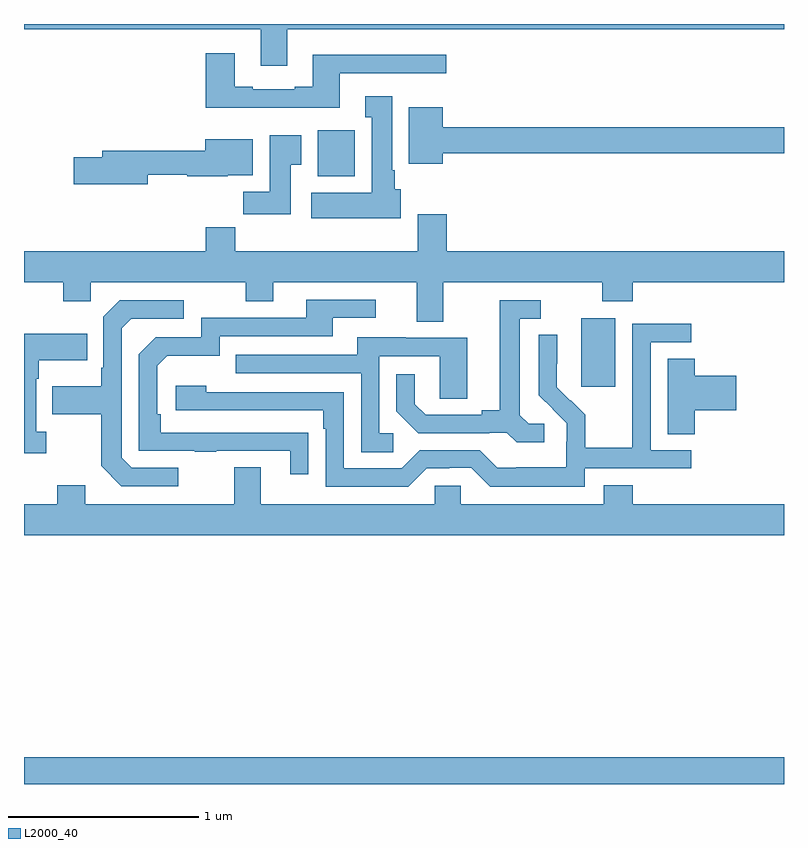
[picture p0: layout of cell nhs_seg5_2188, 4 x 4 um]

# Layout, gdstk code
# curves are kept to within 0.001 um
import gdstk
lib = gdstk.Library(unit=1e-6, precision=1e-09)
def R(c, l, rs):  # rectangles x0, y0, x1, y1
    for r in rs: c.add(gdstk.rectangle(r[:2], r[2:], *l))
def P(c, l, *ps):  # polygons
    for p in ps: c.add(gdstk.Polygon(p, *l))
L2000_40 = (2000, 40)

nhs_seg5_2188 = lib.new_cell('nhs_seg5_2188')
R(nhs_seg5_2188, L2000_40, [(239,840.799,243,840.94), (241.934,842.889,242.113,843.25), (240.545,843.998,240.742,844.24)])
P(nhs_seg5_2188, L2000_40, [(240.385,844.772),(243,844.772),(243,844.799),(239,844.799),(239,844.772),(240.245,844.772),(240.245,844.578),(240.385,844.578)],
  [(240.661,844.539),(241.222,844.539),(241.222,844.636),(240.521,844.636),(240.521,844.468),(240.425,844.468),(240.425,844.455),(240.205,844.455),(240.205,844.468),(240.109,844.468),(240.109,844.645),(239.957,844.645),(239.957,844.358),(240.661,844.358)],
  [(240.982,843.93),(240.952,843.93),(240.952,844.03),(240.937,844.03),(240.937,844.42),(240.797,844.42),(240.797,844.307),(240.83,844.307),(240.83,843.91),(240.513,843.91),(240.513,843.776),(240.982,843.776)],
  [(241.204,844.12),(243,844.12),(243,844.256),(241.204,844.256),(241.204,844.36),(241.025,844.36),(241.025,844.064),(241.204,844.064)],
  [(240.403,844.057),(240.46,844.057),(240.46,844.213),(240.293,844.213),(240.293,843.916),(240.154,843.916),(240.154,843.798),(240.403,843.798)],
  [(239.65,844.005),(239.858,844.005),(239.858,843.998),(240.072,843.998),(240.072,844.004),(240.205,844.004),(240.205,844.192),(239.954,844.192),(239.954,844.133),(239.411,844.133),(239.411,844.097),(239.262,844.097),(239.262,843.955),(239.65,843.955)],
  [(241.207,843.44),(242.044,843.44),(242.044,843.341),(242.204,843.341),(242.204,843.44),(243,843.44),(243,843.604),(241.226,843.604),(241.226,843.799),(241.073,843.799),(241.073,843.604),(240.113,843.604),(240.113,843.728),(239.957,843.728),(239.957,843.604),(239,843.604),(239,843.44),(239.206,843.44),(239.206,843.341),(239.352,843.341),(239.352,843.44),(240.166,843.44),(240.166,843.341),(240.313,843.341),(240.313,843.44),(241.067,843.44),(241.067,843.232),(241.207,843.232)],
  [(240.497,842.648),(239.72,842.649),(239.72,842.746),(239.7,842.746),(239.7,843),(239.753,843.053),(240.03,843.053),(240.03,843.156),(240.625,843.156),(240.625,843.252),(240.85,843.252),(240.85,843.348),(240.485,843.348),(240.485,843.252),(239.934,843.252),(239.934,843.15),(239.694,843.15),(239.604,843.06),(239.604,842.553),(239.899,842.553),(239.899,842.548),(240.011,842.548),(240.011,842.553),(240.401,842.553),(240.401,842.43),(240.497,842.43)],
  [(241.738,842.694),(241.656,842.694),(241.609,842.741),(241.609,843.249),(241.72,843.249),(241.72,843.345),(241.505,843.345),(241.505,842.765),(241.409,842.765),(241.409,842.742),(241.114,842.742),(241.057,842.799),(241.057,842.956),(240.96,842.956),(240.96,842.762),(241.076,842.646),(241.448,842.646),(241.448,842.649),(241.542,842.649),(241.594,842.597),(241.738,842.597)],
  [(239.812,842.463),(239.568,842.463),(239.514,842.517),(239.514,843.198),(239.565,843.249),(239.842,843.249),(239.842,843.345),(239.505,843.345),(239.418,843.258),(239.418,842.989),(239.406,842.989),(239.406,842.893),(239.149,842.893),(239.149,842.746),(239.406,842.746),(239.406,842.473),(239.511,842.367),(239.812,842.367)],
  [(241.95,842.46),(242.512,842.46),(242.512,842.556),(242.298,842.556),(242.298,843.123),(242.512,843.123),(242.512,843.222),(242.202,843.222),(242.202,842.792),(242.2,842.792),(242.2,842.569),(241.955,842.569),(241.955,842.743),(241.878,842.82),(241.875,842.817),(241.805,842.888),(241.806,843.164),(241.71,843.164),(241.71,842.846),(241.856,842.698),(241.856,842.601),(241.854,842.601),(241.854,842.467),(241.591,842.467),(241.591,842.463),(241.491,842.463),(241.398,842.556),(241.083,842.556),(240.987,842.46),(240.684,842.46),(240.684,842.862),(239.96,842.862),(239.96,842.896),(239.799,842.896),(239.799,842.766),(240.575,842.766),(240.575,842.669),(240.588,842.669),(240.588,842.364),(241.023,842.364),(241.119,842.46),(241.238,842.46),(241.238,842.463),(241.353,842.463),(241.453,842.363),(241.95,842.363)],
  [(239.116,842.654),(239.064,842.654),(239.064,842.933),(239.077,842.933),(239.077,843.029),(239.333,843.029),(239.333,843.169),(239,843.169),(239,842.541),(239.116,842.541)],
  [(240.943,842.646),(240.87,842.646),(240.87,843.051),(241.188,843.051),(241.188,842.827),(241.333,842.827),(241.333,843.147),(241.009,843.147),(241.009,843.151),(240.755,843.151),(240.755,843.057),(240.115,843.057),(240.115,842.961),(240.774,842.961),(240.774,842.545),(240.943,842.545)],
  [(242.531,842.765),(242.749,842.765),(242.749,842.948),(242.531,842.948),(242.531,843.038),(242.387,843.038),(242.387,842.641),(242.531,842.641)],
  [(243,842.272),(242.204,842.272),(242.204,842.371),(242.051,842.371),(242.051,842.272),(241.299,842.272),(241.299,842.37),(241.161,842.37),(241.161,842.272),(240.247,842.272),(240.247,842.467),(240.107,842.467),(240.107,842.272),(239.323,842.272),(239.323,842.371),(239.176,842.371),(239.176,842.272),(239,842.272),(239,842.108),(243,842.108)])

lib.write_gds('nhs_seg5_2188.gds')
